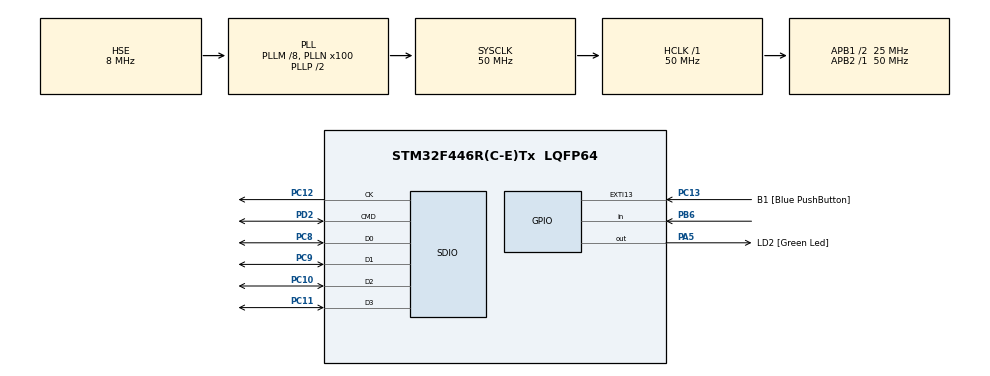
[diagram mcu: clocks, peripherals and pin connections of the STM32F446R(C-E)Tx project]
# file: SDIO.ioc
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Mcu.Family=STM32F4
PH0-OSC_IN.Signal=RCC_OSC_IN
RCC.CortexFreq_Value=50000000
VP_FATFS_VS_SDIO.Mode=SDIO
PC12.Signal=SDIO_CK
PC10.Signal=SDIO_D2
PA14.GPIO_Label=TCK
PC13.GPIO_Label=B1 [Blue PushButton]
RCC.SYSCLKSource=RCC_SYSCLKSOURCE_PLLCLK
ProjectManager.StackSize=0x400
RCC.HCLKFreq_Value=50000000
RCC.APB2TimFreq_Value=50000000
PB6.Signal=GPIO_Input
RCC.AHBFreq_Value=50000000
PH0-OSC_IN.Mode=HSE-External-Oscillator
RCC.HSE_VALUE=8000000
PC14-OSC32_IN.Mode=LSE-External-Oscillator
PA14.Mode=Serial_Wire
PC9.Mode=SD_4_bits_Wide_bus
RCC.FLatency-AdvancedSettings=FLASH_LATENCY_1
PH1-OSC_OUT.Mode=HSE-External-Oscillator
Mcu.Package=LQFP64
PC11.Mode=SD_4_bits_Wide_bus
RCC.APB1TimFreq_Value=50000000
PA3.Signal=USART2_RX
PB3.GPIO_Label=SWO
RCC.PLLSourceVirtual=RCC_PLLSOURCE_HSE
PC15-OSC32_OUT.Mode=LSE-External-Oscillator
PC11.Signal=SDIO_D3
PC13.Signal=GPXTI13
PC8.Signal=SDIO_D0
PC10.Mode=SD_4_bits_Wide_bus
RCC.APB1CLKDivider=RCC_HCLK_DIV2
PC14-OSC32_IN.Signal=RCC_OSC32_IN
PA13.Signal=SYS_JTMS-SWDIO
ProjectManager.TargetToolchain=STM32CubeIDE
RCC.USBFreq_Value=33333333.333333332
SDIO.ClockDiv=16
PC15-OSC32_OUT.Signal=RCC_OSC32_OUT
PD2.Mode=SD_4_bits_Wide_bus
PA5.Signal=GPIO_Output
PC12.Mode=SD_4_bits_Wide_bus
board=NUCLEO-F446RE
RCC.VCOOutputFreq_Value=100000000
RCC.APB2Freq_Value=50000000
PH1-OSC_OUT.Signal=RCC_OSC_OUT
PA13.Mode=Serial_Wire
Mcu.Name=STM32F446R(C-E)Tx
PA13.GPIO_Label=TMS
PC8.Mode=SD_4_bits_Wide_bus
RCC.48MHZClocksFreq_Value=84000000
PB3.Signal=SYS_JTDO-SWO
RCC.SYSCLKFreq_VALUE=50000000
PA5.GPIO_Label=LD2 [Green Led]
PC13.GPIO_ModeDefaultEXTI=GPIO_MODE_IT_FALLING
PA14.Signal=SYS_JTCK-SWCLK
ProjectManager.HeapSize=0x200
RCC.HSI_VALUE=16000000
RCC.PLLQ=3
NVIC.PriorityGroup=NVIC_PRIORITYGROUP_0
RCC.PLLM=8
RCC.PLLN=100
PC9.Signal=SDIO_D1
PD2.Signal=SDIO_CMD
RCC.APB1Freq_Value=25000000
PA3.GPIO_Label=USART_RX

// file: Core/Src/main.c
/* USER CODE BEGIN Header */
/**
  ******************************************************************************
  * @file           : main.c
  * @brief          : Main program body
  ******************************************************************************
  * @attention
  *
  * <h2><center>&copy; Copyright (c) 2021 STMicroelectronics.
  * All rights reserved.</center></h2>
  *
  * This software component is licensed by ST under BSD 3-Clause license,
  * the "License"; You may not use this file except in compliance with the
  * License. You may obtain a copy of the License at:
  *                        opensource.org/licenses/BSD-3-Clause
  *
  ******************************************************************************
  */
/* USER CODE END Header */
#include "main.h"
#include "fatfs.h"

/* USER CODE BEGIN Includes */
#include "File_Handling.h"
#include "stdio.h"
#include "stdlib.h"
#include <string.h>
/* USER CODE END Includes */

SD_HandleTypeDef hsd;

void SystemClock_Config(void);
static void MX_GPIO_Init(void);
static void MX_SDIO_SD_Init(void);
/* USER CODE BEGIN PFP */
//CAN_TxHeaderTypeDef TxHeader1;
//CAN_RxHeaderTypeDef RxHeader1;
//CAN_TxHeaderTypeDef TxHeader2;
//CAN_RxHeaderTypeDef RxHeader2;
//CAN_FilterTypeDef canFilter0;

uint8_t TxMessage[8];
uint8_t RxMessage[8];
uint32_t TxMailbox;

// Debugging
short enablePrintf = 1;
short enableTimers = 0;
short enableTimerPrints = 1;
short magnetometerPrints = 0;
short accelerometerPrints = 1;
short angularPrints = 0;
// Driver config
short enableDisplay = 0;
short enableWriteSD = 0;
short enableDiagnosticSD = 0;
short startupAnimation = 0; // A nice startup animation, if it's ever implemented.
// short dynamicBrightness = 0; // 0 is Off, 1 is On. Battery voltage-based brightness.
short dispBrightness[2] = {0x09,0x09}; // Startup Display Brightness 8-7SD || Gear+LEDs
short displayState[2] = {0,0}; // Startup Display Configuration

// CAN Bus variable declarations
unsigned int RPM = 0;
double TPS = 0; // %
double fuelOpenTime = 0; // ms
double ignitionAngle = 0; // Degrees
double barometer = 0; // PSI
double MAP = 0; // PSI
double lambda = 0; // ECU mapped Lambda #1 (A/F R) (DO NOT PRINT)
unsigned int pressureType = 0;
double AnIn1 = 0; // Radiator Air Temp (Post) (F/C)
double AnIn2 = 0; // Radiator Air Temp (Pre) (F/C)
double AnIn3 = 0; // Lambda #1 (A/F R)
double AnIn4 = 0; // Lambda #2 (A/F R)
double AnIn5 = 0; // Radiator Coolant Temp (Pre)
double AnIn6 = 0; // Radiator Coolant Temp (Post)
double AnIn7 = 0; // Oil Pressure (PSI - Display, kPa - SD Card)
double AnIn8 = 0; // MAF Sensor (?)
double freq1 = 0; // Wheel Speed Sensor (FR) (mph)
double freq2 = 0; // Wheel Speed Sensor (FL) (mph)
double freq3 = 0; // Wheel Speed Sensor (RR) (mph)
double freq4 = 0; // Wheel Speed Sensor (RL) (mph)
double batteryVoltage = 0;
double airTemp = 0; // (F)
double coolantTemp = 0; // Coolant temp at Engine
unsigned int tempType = 0;
double AnInT5 = 0; // (DO NOT PRINT SD)
double AnInT7 = 0; // (DO NOT PRINT SD)
int versionMajor = 0;
int versionMinor = 0;
int versionBuild = 0;
int TBD = 0;

// GPS variable declarations
int day, month, year, hour, minute, second, statFix, gSpeed;
float latitude, longitude, height_Ellipsoid, height_SeaLvl;
int uniqueID[6];

// ADC1 variable declarations
int damperT_Sense_FL = 0; // ADC1_IN0
int damperT_Sense_FR = 0; // ADC1_IN1
int damperT_Sense_RL = 0; // ADC1_IN4
int damperT_Sense_RR = 0; // ADC1_IN6

// ADC2 variable declarations
int steeringA_Sense = 0; // ADC2_IN7
int brakeP_Sense1 = 0; // ADC2_IN8
int brakeP_Sense2 = 0; // ADC2_IN9
int radiatorWaterTemp1 = 0; // ADC2_IN10
int radiatorWaterTemp2 = 0; // ADC2_IN11

// Accelerometer variable declarations
uint8_t receive;
uint8_t receiveArr[12];
int16_t pitchS = 0;
int16_t rollS = 0;
int16_t yawS = 0;
int16_t x_AccelS = 0;
int16_t y_AccelS = 0;
int16_t z_AccelS = 0;

double x_LS, y_LS, z_LS, roll_LS, pitch_LS, yaw_LS; // Print these to SD Card

// ADC DMA
uint16_t DMA_Store_ADC1[4];
uint16_t DMA_Store_ADC2[5];

// Display variable declarations
double gearing[6] = {2.883,2.062, 1.647, 1.421, 1.272, 1.173};
double finalDrive = 4.55;
double tireRadius = 10; // Inches
double computedSpeed;
double wheelSpeed = 0;
double lapTime = 0;
double oilPressure = 0;

unsigned short gear;

int dispCommFail = 0; // CAN, I2C, SPI, or UART Failure
int dispMCUFail = 0; // In the event of failure, I don't even know how this would be triggered. I sure hope it never does though.

short dataMark = 0;
uint8_t current7SegL[4] = {0,0,0,0};
uint8_t current7SegR[4] = {0,0,0,0};
uint8_t currentRPMBar = 0;
uint8_t enablePins[2] = {7,6}; // Left || Right
uint8_t digitAddresses[8] = {0x01, 0x02, 0x03, 0x04, 0x05, 0x06, 0x07, 0x08}; // Leftmost to Rightmost
unsigned short dispUpdateDelay = 10; // milliseconds.
unsigned short launchDisplay = 0; // Waits for first CAN message so meaningful values can be sent to display.

const int dispRPM[2] = {10000, 12500}; // RPM Indicator: Warning Light, Max (RPM)
const int dispWaterTemp[2] = {32, 230}; // Temperature Warning Indicators: Low, High (Farenheit)
const int dispOilPressure[2] = {0, 90}; // Oil Pressure Indicator: Low, High (PSI)

uint8_t tempVar1;

void CAN1_TX(void);

//void initializeDisplays();
//void updateDisplaysComplex();
//void updateDisplaysFlush();
//void initializeLSM9DS1();
//void readLSM9DS1();
//void ambientCalcs();
//void testDisplay();
void csvHeader(char* FileName, int lenF);
void csvUpdate(char* FileName, int lenF);
void SD_Check(FRESULT fresult);
int SD_Status();

// SD Card
FRESULT fresult;
short int isSaving = 0;
short int detect = 0;
short int previousDetect = 0;
char* FileName = NULL;
int lenF = 0;
char buffer[100];
int indx = 0;
/* USER CODE END PFP */

/* USER CODE BEGIN 0 */

int _write(int file, char *ptr, int len)
{
	for(int i=0; i<len; i++)
		ITM_SendChar((*ptr++));

	return len;
}

/* USER CODE END 0 */

int main(void)
{

  /* MCU Configuration--------------------------------------------------------*/

  /* Reset of all peripherals, Initializes the Flash interface and the Systick. */
  HAL_Init();

  /* Configure the system clock */
  SystemClock_Config();

  /* Initialize all configured peripherals */
  MX_GPIO_Init();
  MX_SDIO_SD_Init();
  MX_FATFS_Init();
  /* USER CODE BEGIN 2 */

	/* Initialize all configured peripherals */
    MX_GPIO_Init();
    MX_SDIO_SD_Init();
    MX_FATFS_Init();
    /* USER CODE BEGIN 2 */

    //Check if the card is already inserted or not
    if(Mount_SD("/")==FR_OK) {
		detect = 1;
		printf("%d) Card is already detected\n\n",detect);
	}
	else {
		detect = 0;
		printf("%d) No card detected\n\n",detect);
	}

	Unmount_SD("/");

  /* USER CODE END 2 */

  /* Infinite loop */
	while (1)
	{

    /* USER CODE BEGIN 3 */
		if (HAL_GPIO_ReadPin(GPIOB, GPIO_PIN_6)) {
			Unmount_SD("/");
			fresult = Mount_SD("/");
			if (fresult == FR_OK) {

				detect = 1;
				if (((previousDetect == 0 && detect == 1) || !FileName)) {
					printf("Creating a new file...\n");

					//Create new file with a GPS naming convention
					second = 53;
					minute = 33;
					hour = 14;
					day = 24;
					month = 3;
					year = 2021;
					char dayS[12], monthS[12], yearS[12], hourS[12], minuteS[12], secondS[12];
					sprintf(dayS, "%d", indx);
					sprintf(monthS, "%d", month);
					sprintf(yearS, "%d", year);
					sprintf(hourS, "%d", hour);
					sprintf(minuteS, "%d", minute);
					sprintf(secondS, "%d", second);
					lenF = strlen("DFR_")+strlen(dayS)+strlen("-")+strlen(monthS)+strlen("-")+strlen(yearS)+strlen("_")+strlen(secondS)+strlen("-")+strlen(minuteS)+strlen("-")+strlen(hourS)+strlen(".csv")+1;
					FileName = (char*)malloc(lenF * sizeof(char));
					snprintf(FileName,lenF,"DFR_%s-%s-%s_%s-%s-%s.CSV", dayS, monthS, yearS, secondS, minuteS, hourS);

					SD_Check(fresult);
					Format_SD();
					fresult = Create_File(FileName);
					SD_Check(fresult);
					Unmount_SD("/");

					csvHeader(FileName, lenF);

					previousDetect = detect;

				}

				HAL_GPIO_WritePin(GPIOA, LD2_Pin, 1);
				csvUpdate(FileName, lenF);
				indx++;
				printf("\n Count: %d \n", indx);

			}
			else {
				if(FileName) {
					free(FileName);
					FileName = NULL;
				}

				detect = 0;
				HAL_GPIO_WritePin(GPIOA, LD2_Pin, 0);
				printf("ERROR - Failed to mount...\n");

				previousDetect = detect;
			}
		}
		else {
			if(FileName) {
				free(FileName);
				FileName = NULL;
			}

			detect = 0;
			HAL_GPIO_WritePin(GPIOA, LD2_Pin, 0);
			printf("ERROR - No card inserted...\n");

			previousDetect = detect;
		}

		//To do: if(FileName) free(FileName); FileName = NULL;
		// OR check realloc

	}
  /* USER CODE END 3 */
}

void SystemClock_Config(void)
{
  RCC_OscInitTypeDef RCC_OscInitStruct = {0};
  RCC_ClkInitTypeDef RCC_ClkInitStruct = {0};
  RCC_PeriphCLKInitTypeDef PeriphClkInitStruct = {0};

  /** Configure the main internal regulator output voltage
  */
  __HAL_RCC_PWR_CLK_ENABLE();
  __HAL_PWR_VOLTAGESCALING_CONFIG(PWR_REGULATOR_VOLTAGE_SCALE3);
  /** Initializes the RCC Oscillators according to the specified parameters
  * in the RCC_OscInitTypeDef structure.
  */
  RCC_OscInitStruct.OscillatorType = RCC_OSCILLATORTYPE_HSE;
  RCC_OscInitStruct.HSEState = RCC_HSE_ON;
  RCC_OscInitStruct.PLL.PLLState = RCC_PLL_ON;
  RCC_OscInitStruct.PLL.PLLSource = RCC_PLLSOURCE_HSE;
  RCC_OscInitStruct.PLL.PLLM = 8;
  RCC_OscInitStruct.PLL.PLLN = 100;
  RCC_OscInitStruct.PLL.PLLP = RCC_PLLP_DIV2;
  RCC_OscInitStruct.PLL.PLLQ = 3;
  RCC_OscInitStruct.PLL.PLLR = 2;
  if (HAL_RCC_OscConfig(&RCC_OscInitStruct) != HAL_OK)
  {
    Error_Handler();
  }
  /** Initializes the CPU, AHB and APB buses clocks
  */
  RCC_ClkInitStruct.ClockType = RCC_CLOCKTYPE_HCLK|RCC_CLOCKTYPE_SYSCLK
                              |RCC_CLOCKTYPE_PCLK1|RCC_CLOCKTYPE_PCLK2;
  RCC_ClkInitStruct.SYSCLKSource = RCC_SYSCLKSOURCE_PLLCLK;
  RCC_ClkInitStruct.AHBCLKDivider = RCC_SYSCLK_DIV1;
  RCC_ClkInitStruct.APB1CLKDivider = RCC_HCLK_DIV2;
  RCC_ClkInitStruct.APB2CLKDivider = RCC_HCLK_DIV1;

  if (HAL_RCC_ClockConfig(&RCC_ClkInitStruct, FLASH_LATENCY_1) != HAL_OK)
  {
    Error_Handler();
  }
  PeriphClkInitStruct.PeriphClockSelection = RCC_PERIPHCLK_SDIO|RCC_PERIPHCLK_CLK48;
  PeriphClkInitStruct.Clk48ClockSelection = RCC_CLK48CLKSOURCE_PLLQ;
  PeriphClkInitStruct.SdioClockSelection = RCC_SDIOCLKSOURCE_CLK48;
  if (HAL_RCCEx_PeriphCLKConfig(&PeriphClkInitStruct) != HAL_OK)
  {
    Error_Handler();
  }
}

static void MX_SDIO_SD_Init(void)
{

  hsd.Instance = SDIO;
  hsd.Init.ClockEdge = SDIO_CLOCK_EDGE_RISING;
  hsd.Init.ClockBypass = SDIO_CLOCK_BYPASS_DISABLE;
  hsd.Init.ClockPowerSave = SDIO_CLOCK_POWER_SAVE_DISABLE;
  hsd.Init.BusWide = SDIO_BUS_WIDE_1B;
  hsd.Init.HardwareFlowControl = SDIO_HARDWARE_FLOW_CONTROL_DISABLE;
  hsd.Init.ClockDiv = 16;

}

static void MX_GPIO_Init(void)
{
  GPIO_InitTypeDef GPIO_InitStruct = {0};

  /* GPIO Ports Clock Enable */
  __HAL_RCC_GPIOC_CLK_ENABLE();
  __HAL_RCC_GPIOH_CLK_ENABLE();
  __HAL_RCC_GPIOA_CLK_ENABLE();
  __HAL_RCC_GPIOD_CLK_ENABLE();
  __HAL_RCC_GPIOB_CLK_ENABLE();

  /*Configure GPIO pin Output Level */
  HAL_GPIO_WritePin(LD2_GPIO_Port, LD2_Pin, GPIO_PIN_RESET);

  /*Configure GPIO pin : B1_Pin */
  GPIO_InitStruct.Pin = B1_Pin;
  GPIO_InitStruct.Mode = GPIO_MODE_IT_FALLING;
  GPIO_InitStruct.Pull = GPIO_NOPULL;
  HAL_GPIO_Init(B1_GPIO_Port, &GPIO_InitStruct);

  /*Configure GPIO pin : USART_RX_Pin */
  GPIO_InitStruct.Pin = USART_RX_Pin;
  GPIO_InitStruct.Mode = GPIO_MODE_AF_PP;
  GPIO_InitStruct.Pull = GPIO_NOPULL;
  GPIO_InitStruct.Speed = GPIO_SPEED_FREQ_VERY_HIGH;
  GPIO_InitStruct.Alternate = GPIO_AF7_USART2;
  HAL_GPIO_Init(USART_RX_GPIO_Port, &GPIO_InitStruct);

  /*Configure GPIO pin : LD2_Pin */
  GPIO_InitStruct.Pin = LD2_Pin;
  GPIO_InitStruct.Mode = GPIO_MODE_OUTPUT_PP;
  GPIO_InitStruct.Pull = GPIO_NOPULL;
  GPIO_InitStruct.Speed = GPIO_SPEED_FREQ_LOW;
  HAL_GPIO_Init(LD2_GPIO_Port, &GPIO_InitStruct);

  /*Configure GPIO pin : PB6 */
  GPIO_InitStruct.Pin = GPIO_PIN_6;
  GPIO_InitStruct.Mode = GPIO_MODE_INPUT;
  GPIO_InitStruct.Pull = GPIO_NOPULL;
  HAL_GPIO_Init(GPIOB, &GPIO_InitStruct);

}

/* USER CODE BEGIN 4 */

void SD_Check(FRESULT fresult) {
	if(fresult != FR_OK) {
		isSaving = 0;
		if(enablePrintf)
			printf("ERROR - SD card is NOT saving!\n");
	}
	else {
		isSaving = 1;
		if(enablePrintf)
			printf("Successfully saved to SD Card\n");
	}
}

int SD_Status() { return isSaving; }

void csvHeader(char* FileName, int lenF) {

	char name[lenF];
	strcpy(name, FileName);

	if (HAL_GPIO_ReadPin(GPIOB, GPIO_PIN_6)) {
		fresult = Mount_SD("/");
		SD_Check(fresult);

		//CAN Bus
		sprintf(buffer, "Time, RPM, TPS (%%), Fuel Open Time (ms), Ignition Angle (Degrees),");
		Update_File(name, buffer);
		sprintf(buffer, "Barometer (PSI), MAP (PSI), Pressure Type,");
		Update_File(name, buffer);
		sprintf(buffer, "Pre Radiator Air Temp (C), Post Radiator Air Temp (C),");
		Update_File(name, buffer);
		sprintf(buffer, "Labmda #1 (A/F R), Lambda #2 (A/F R),");
		Update_File(name, buffer);
		sprintf(buffer, "Pre Radiator Coolant Temp (C), Post Radiator Coolant Temp (C),");
		Update_File(name, buffer);
		sprintf(buffer, "Oil Pressure (PSI), Mass Air Flow Sensor (kg/s),");
		Update_File(name, buffer);
		sprintf(buffer, "FR Wheel Speed (mph), FL Wheel Speed (mph),");
		Update_File(name, buffer);
		sprintf(buffer, "RR Wheel Speed (mph), RL Wheel Speed (mph),");
		Update_File(name, buffer);
		sprintf(buffer, "Battery Voltage (V), Air Temp (C), Coolant Temp (C),");
		Update_File(name, buffer);

		//GPS
		sprintf(buffer, "Day, Month, Year, Hour, Minute, Second, gSpeed,");
		Update_File(name, buffer);
		sprintf(buffer, "Latitude, Longitude, Height Ellipsoid, Height Sea Level,");
		Update_File(name, buffer);

		//ADC1
		sprintf(buffer, "FL Damper Sensor, FR Damper Sensor,");
		Update_File(name, buffer);
		sprintf(buffer, "RL Damper Sensor, RR Damper Sensor,");
		Update_File(name, buffer);

		//ADC2
		sprintf(buffer, "Steering Sensor, Brake Sensor #1, Brake Sensor #2,");
		Update_File(name, buffer);

		//Ask about Unused #1 and #2

		//Accelerometer & Gyroscope
		sprintf(buffer, "X, Y, Z, Roll, Pitch, Yaw\n\n");
		fresult = Update_File(name, buffer);
		SD_Check(fresult);

		Unmount_SD("/");

	}

}

void csvUpdate(char* FileName, int lenF) {

	char name[lenF];
	strcpy(name, FileName);

	if (HAL_GPIO_ReadPin(GPIOB, GPIO_PIN_6)) {
		fresult = Mount_SD("/");
		SD_Check(fresult);

		sprintf(buffer, "%d,%hu,%f,%f,%f,", indx, RPM, TPS, fuelOpenTime, ignitionAngle);
		Update_File(name, buffer);
		sprintf(buffer, "%f,%f,%i,", barometer, MAP, pressureType);
		Update_File(name, buffer);
		sprintf(buffer, "%f,%f,%f,%f,%f,%f,%f,%f,", AnIn1, AnIn2, AnIn3, AnIn4, AnIn5, AnIn6, AnIn7, AnIn8);
		Update_File(name, buffer);
		sprintf(buffer, "%f,%f,%f,%f,%f,", freq1, freq2, freq3, freq4, batteryVoltage);
		Update_File(name, buffer);
		sprintf(buffer, "%f,%f,", airTemp, coolantTemp);
		Update_File(name, buffer);

		sprintf(buffer, "%d,%d,%d,%d,%d,%d,%d,", day, month, year, hour, minute, second, gSpeed);
		Update_File(name, buffer);
		sprintf(buffer, "%f,%f,%f,%f,", latitude, longitude, height_Ellipsoid, height_SeaLvl);
		Update_File(name, buffer);

		sprintf(buffer, "%d,%d,%d,%d,", damperT_Sense_FL, damperT_Sense_FR, damperT_Sense_RL, damperT_Sense_RR);
		Update_File(name, buffer);

		sprintf(buffer, "%d,%d,%d,", steeringA_Sense, brakeP_Sense1, brakeP_Sense2);
		Update_File(name, buffer);

		sprintf(buffer, "%f,%f,%f,%f,%f,%f", x_LS, y_LS, z_LS, roll_LS, pitch_LS, yaw_LS);
		Update_File(name, buffer);

		sprintf(buffer, "\n\n");
		fresult = Update_File(name, buffer);
		SD_Check(fresult);

		Unmount_SD("/");
	}

}

/* USER CODE END 4 */

void Error_Handler(void)
{
}

/************************ (C) COPYRIGHT STMicroelectronics *****END OF FILE****/
